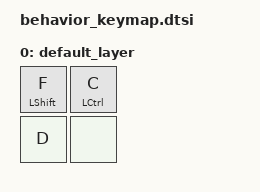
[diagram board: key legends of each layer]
#include <dt-bindings/zmk/keys.h>
#include <behaviors.dtsi>
#include <dt-bindings/zmk/kscan_mock.h>

/ {
	behaviors {
		tp: behavior_tap_preferred {
			compatible = "zmk,behavior-hold-tap";
			label = "MOD_TAP";
			#binding-cells = <2>;
			flavor = "tap-preferred";
			tapping-term-ms = <300>;
			quick-tap-ms = <300>;
			bindings = <&kp>, <&kp>;
			global-quick-tap;
		};
	};

	keymap {
		compatible = "zmk,keymap";
		label ="Default keymap";

		default_layer {
			bindings = <
				&tp LEFT_SHIFT F &tp LEFT_CONTROL C
				&kp D &none>;
		};
	};
};
